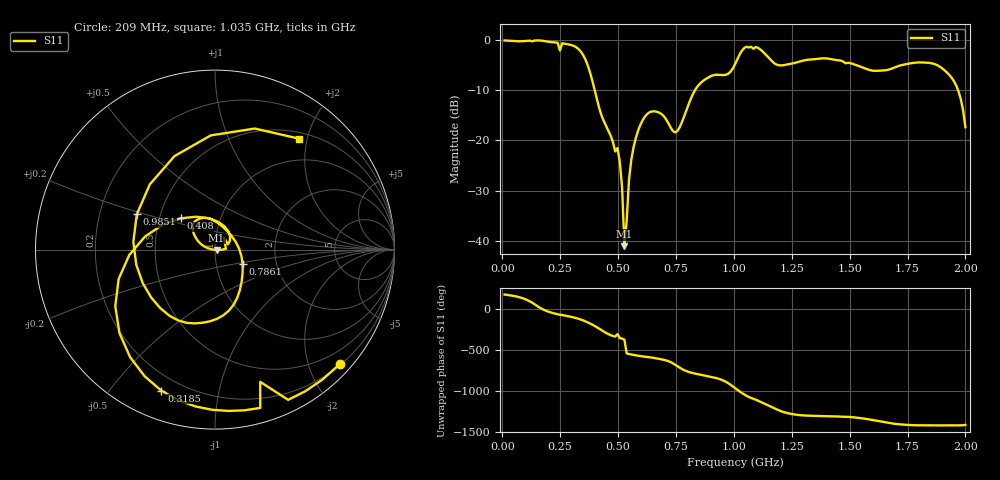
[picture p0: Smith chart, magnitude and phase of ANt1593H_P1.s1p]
!Created with skrf (http://scikit-rf.org).
# Hz S RI R 50.0
!freq ReS11 ImS11
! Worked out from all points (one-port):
!   201 points, 10 MHz to 2 GHz, reference 50 ohm
!   lowest |S11| = -41.0 dB at 527.4 MHz (marker M1), VSWR 1.02, Z = 50.9 - j0.235 ohm
!   |S11| at or under -10 dB: 398.9 MHz to 833.2 MHz (434.3 MHz wide, 70.5 % of centre); 1.968 GHz to end of sweep
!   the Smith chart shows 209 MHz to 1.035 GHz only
!   S11 on the Smith chart (normalised r, x): 209 MHz: 0.22, -2.54; 318.4 MHz: 0.13, -0.68; 408 MHz: 0.64, +0.24; 786.1 MHz: 1.34, -0.23; 985.1 MHz: 0.37, +0.19; 1.035 GHz: 0.60, +1.86
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1e7  -0.9769 0.069
7.965e7  -0.7228 0.6336
1.1945e8  -0.0258 0.9745
1.5925e8  0.9164 0.3447
2.09e8  0.6937 -0.6401
2.5875e8  0.2522 -0.8821
3.1845e8  -0.2987 -0.7861
3.5825e8  -0.5557 -0.3155
4.08e8  -0.1917 0.1741
5.075e8  0.0607 0.00435
5.1745e8  0.0339 -0.00159
5.274e8  0.00857 -0.00231
5.5725e8  -0.0614 0.0186
5.9705e8  -0.1164 0.0839
7.5625e8  0.1162 0.0417
7.861e8  0.1538 -0.0817
9.1545e8  -0.2061 -0.3941
9.851e8  -0.4357 0.1964
1.005e9  -0.2258 0.5208
1.03485e9  0.4676 0.6183
1.07465e9  0.8415 -0.0943
1.1244e9  0.3165 -0.6924
1.1841e9  -0.4614 -0.3256
1.25375e9  -0.5268 0.2416
1.5025e9  -0.2967 0.5026
1.75125e9  0.5262 0.2295
1.93035e9  0.4227 0.142
2e9  0.1231 0.0555
